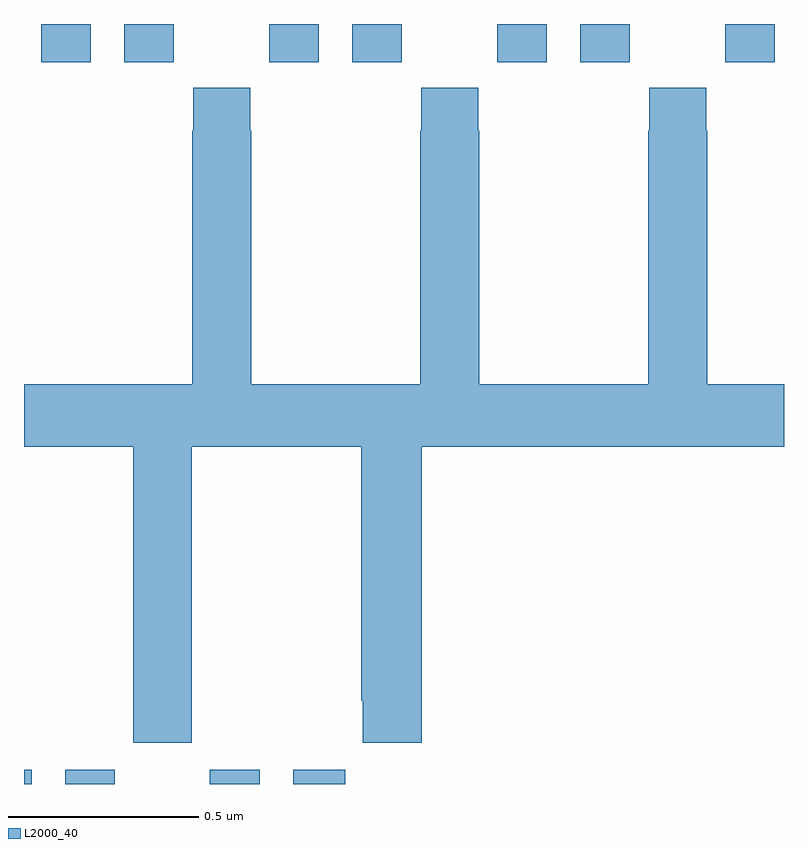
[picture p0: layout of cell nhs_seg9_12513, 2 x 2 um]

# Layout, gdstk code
import gdstk
lib = gdstk.Library(unit=1e-6, precision=1e-09)
def R(c, l, rs):  # rectangles x0, y0, x1, y1
    for r in rs: c.add(gdstk.rectangle(r[:2], r[2:], *l))
def P(c, l, *ps):  # polygons
    for p in ps: c.add(gdstk.Polygon(p, *l))
L2000_40 = (2000, 40)

nhs_seg9_12513 = lib.new_cell('nhs_seg9_12513')
R(nhs_seg9_12513, L2000_40, [(269,1227.5,269.02,1227.538), (269.108,1227.5,269.239,1227.538), (269.489,1227.5,269.62,1227.538), (269.708,1227.5,269.845,1227.538), (269.046,1229.4,269.176,1229.5), (269.264,1229.4,269.394,1229.5), (269.646,1229.4,269.776,1229.5), (269.864,1229.4,269.994,1229.5), (270.246,1229.4,270.376,1229.5), (270.464,1229.4,270.594,1229.5), (270.846,1229.4,270.976,1229.5)])
P(nhs_seg9_12513, L2000_40, [(269.442,1228.388),(269.887,1228.388),(269.887,1227.721),(269.891,1227.721),(269.891,1227.609),(270.047,1227.609),(270.047,1228.388),(271,1228.388),(271,1228.552),(270.798,1228.552),(270.798,1229.219),(270.795,1229.219),(270.795,1229.332),(270.645,1229.332),(270.645,1229.219),(270.643,1229.219),(270.643,1228.552),(270.198,1228.552),(270.198,1229.219),(270.195,1229.219),(270.195,1229.332),(270.045,1229.332),(270.045,1229.219),(270.043,1229.219),(270.043,1228.552),(269.598,1228.552),(269.598,1229.219),(269.595,1229.219),(269.595,1229.332),(269.445,1229.332),(269.445,1229.219),(269.443,1229.219),(269.443,1228.552),(269,1228.552),(269,1228.388),(269.287,1228.388),(269.287,1227.609),(269.442,1227.609)])

lib.write_gds('nhs_seg9_12513.gds')
